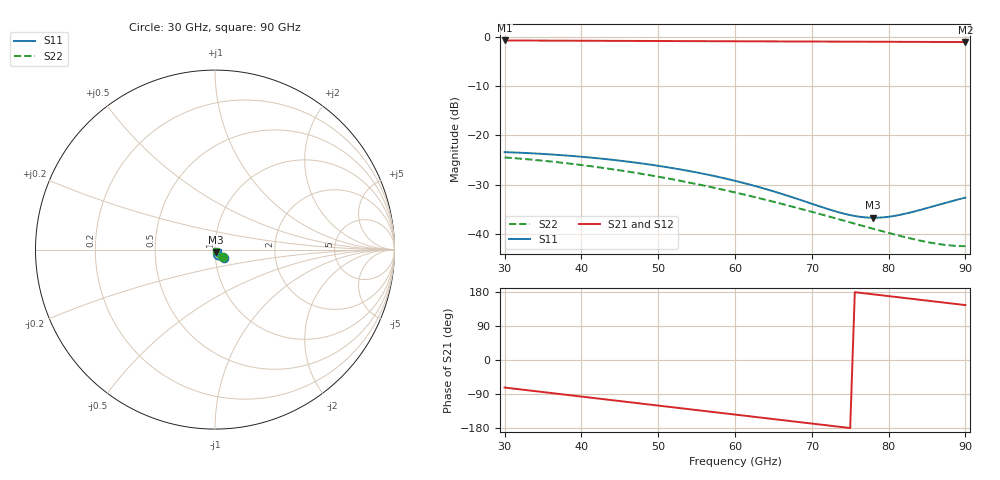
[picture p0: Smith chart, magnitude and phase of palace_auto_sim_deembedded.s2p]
! Created with skrf 1.11.0 (http://scikit-rf.org).
# GHz S DB R 50.0
!freq dBS11 angS11 dBS21 angS21 dBS12 angS12 dBS22 angS22
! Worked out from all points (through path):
!   101 points, 30 GHz to 90 GHz, reference 50 ohm
!   highest |S21| = -0.68 dB at 30 GHz (marker M1); lowest = -1.0 dB at 90 GHz (marker M2)
!   group delay of S21, straight-line fit = 6.59 ps
!   lowest |S11| = -36.7 dB at 78 GHz (marker M3), VSWR 1.03, Z = 50.4 - j1.4 ohm
!   |S11| at or under -10 dB: start of sweep to end of sweep
!   |S22| runs from -42.5 to -24.5 dB; largest |S21 - S12| = 1.1e-14
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30  -23.39 -45.4  -0.68 -72.7  -0.68 -72.7  -24.47 -41.8
33  -23.59 -51.8  -0.70 -79.8  -0.70 -79.8  -24.85 -47.5
35.4  -23.80 -56.8  -0.72 -85.5  -0.72 -85.5  -25.20 -51.9
37.8  -24.05 -61.8  -0.73 -91.3  -0.73 -91.3  -25.60 -56.1
40.2  -24.36 -66.7  -0.74 -97.0  -0.74 -97.0  -26.05 -60.3
45  -25.13 -76.0  -0.77 -108.4  -0.77 -108.4  -27.10 -68.0
47.4  -25.60 -80.5  -0.78 -114.1  -0.78 -114.1  -27.69 -71.5
50.4  -26.27 -85.8  -0.80 -121.2  -0.80 -121.2  -28.50 -75.7
55.2  -27.58 -93.4  -0.82 -132.6  -0.82 -132.6  -29.95 -81.3
60  -29.22 -99.3  -0.85 -144.0  -0.85 -144.0  -31.59 -85.6
63  -30.45 -101.6  -0.87 -151.1  -0.87 -151.1  -32.70 -87.3
65.4  -31.55 -102.4  -0.88 -156.8  -0.88 -156.8  -33.64 -88.1
70.2  -33.99 -99.0  -0.90 -168.2  -0.90 -168.2  -35.62 -87.8
73.2  -35.49 -92.0  -0.92 -175.3  -0.92 -175.3  -36.90 -86.2
75  -36.20 -85.7  -0.93 -179.6  -0.93 -179.6  -37.68 -84.5
76.8  -36.64 -77.9  -0.94 176.1  -0.94 176.1  -38.46 -82.3
78  -36.74 -72.4  -0.95 173.3  -0.95 173.3  -38.98 -80.5
80.4  -36.45 -61.9  -0.96 167.6  -0.96 167.6  -39.98 -76.0
82.8  -35.68 -53.4  -0.97 161.9  -0.97 161.9  -40.92 -70.1
85.8  -34.42 -46.7  -0.99 154.8  -0.99 154.8  -41.89 -60.6
88.2  -33.38 -44.0  -1.00 149.2  -1.00 149.2  -42.39 -51.3
90  -32.64 -43.1  -1.01 144.9  -1.01 144.9  -42.52 -43.8
